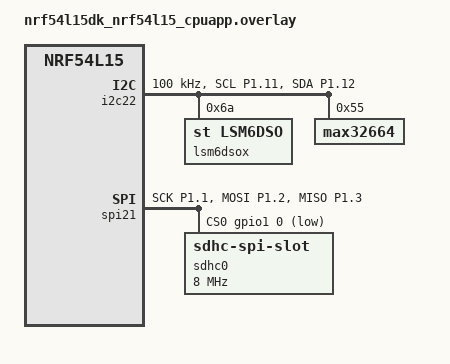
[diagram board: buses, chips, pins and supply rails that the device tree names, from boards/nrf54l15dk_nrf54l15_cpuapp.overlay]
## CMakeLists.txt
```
cmake_minimum_required(VERSION 3.20.0)

# Pick a Python interpreter that can import required Zephyr build modules.
set(_zephyr_python_candidates "")

if(DEFINED WEST_PYTHON)
  list(APPEND _zephyr_python_candidates "${WEST_PYTHON}")
endif()

find_program(WEST_EXECUTABLE west)
if(WEST_EXECUTABLE)
  file(READ "${WEST_EXECUTABLE}" WEST_LAUNCHER_HEAD LIMIT 256)
  string(REGEX MATCH "^#!([^\n\r]+)" WEST_SHEBANG "${WEST_LAUNCHER_HEAD}")
  if(CMAKE_MATCH_1)
    list(APPEND _zephyr_python_candidates "${CMAKE_MATCH_1}")
  endif()
endif()

if(DEFINED ENV{ZEPHYR_PYTHON})
  list(APPEND _zephyr_python_candidates "$ENV{ZEPHYR_PYTHON}")
endif()

file(GLOB _ncs_toolchain_pythons "/opt/nordic/ncs/toolchains/*/bin/python3")
list(APPEND _zephyr_python_candidates ${_ncs_toolchain_pythons})

find_program(SYSTEM_PYTHON3_EXECUTABLE python3)
if(SYSTEM_PYTHON3_EXECUTABLE)
  list(APPEND _zephyr_python_candidates "${SYSTEM_PYTHON3_EXECUTABLE}")
endif()

list(REMOVE_DUPLICATES _zephyr_python_candidates)

unset(_selected_python)
foreach(_py IN LISTS _zephyr_python_candidates)
  if(EXISTS "${_py}")
    execute_process(
      COMMAND "${_py}" -c "import west.version, elftools, intelhex"
      RESULT_VARIABLE _py_ok
      OUTPUT_QUIET
      ERROR_QUIET
    )
    if(_py_ok EQUAL 0)
      set(_selected_python "${_py}")
      break()
    endif()
  endif()
endforeach()

if(DEFINED _selected_python)
  set(WEST_PYTHON "${_selected_python}" CACHE FILEPATH "Python interpreter used by west" FORCE)
  set(Python3_EXECUTABLE "${_selected_python}" CACHE FILEPATH "Python interpreter used by Zephyr" FORCE)
endif()

find_package(Zephyr REQUIRED HINTS $ENV{ZEPHYR_BASE})
project(sens_ia_nordic)

# Add Edge Impulse library
include(sense_ia_datat001-cpp-mcu-v1/edge-impulse-sdk/cmake/utils.cmake)
add_subdirectory(sense_ia_datat001-cpp-mcu-v1/edge-impulse-sdk/cmake/zephyr)

RECURSIVE_FIND_FILE_APPEND(MODEL_SOURCE "sense_ia_datat001-cpp-mcu-v1/tflite-model" "*.cpp")
target_include_directories(app PRIVATE sense_ia_datat001-cpp-mcu-v1)

target_sources(app PRIVATE
  src/main.cpp
  src/ble.c
  src/biohub_max32664.c
  src/imu_lsm6.c
  src/sd.c
  ${MODEL_SOURCE}
)
```

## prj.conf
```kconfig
# Console / printk
CONFIG_SERIAL=y
CONFIG_CONSOLE=y
CONFIG_UART_CONSOLE=y
CONFIG_UART_ASYNC_API=y
CONFIG_USE_SEGGER_RTT=n
CONFIG_RTT_CONSOLE=n
CONFIG_PRINTK=y

# Bluetooth LE
CONFIG_BT=y
CONFIG_BT_PERIPHERAL=y
CONFIG_BT_DEVICE_NAME="SenseAI"
CONFIG_BT_DEVICE_NAME_DYNAMIC=n
CONFIG_BT_MAX_CONN=1

# I2C
CONFIG_I2C=y
CONFIG_GPIO=y

# Sensors
CONFIG_SENSOR=y
CONFIG_LSM6DSO=y

# Pour afficher des float/double avec printk ("%.6f")
CONFIG_CBPRINTF_FP_SUPPORT=y
CONFIG_CBPRINTF_COMPLETE=y
CONFIG_PICOLIBC_IO_FLOAT=y

# SD + filesystem (FAT)
CONFIG_MAIN_STACK_SIZE=4096
CONFIG_SPI=y
CONFIG_CRC=y
CONFIG_DISK_ACCESS=y
CONFIG_DISK_DRIVER_SDMMC=y
CONFIG_SPI_SDHC=y
CONFIG_FILE_SYSTEM=y
CONFIG_FAT_FILESYSTEM_ELM=y

# SD logs
CONFIG_LOG=y
CONFIG_LOG_MODE_IMMEDIATE=y
CONFIG_LOG_BACKEND_RTT=n
CONFIG_LOG_BACKEND_UART=y

CONFIG_SD_LOG_LEVEL_ERR=y
CONFIG_SDHC_LOG_LEVEL_ERR=y

# C++ support
CONFIG_CPP=y
CONFIG_STD_CPP17=y
CONFIG_GLIBCXX_LIBCPP=y
CONFIG_REQUIRES_FULL_LIBCPP=y
```

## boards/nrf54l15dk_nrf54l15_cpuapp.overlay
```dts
/* LSM6DSOX en I2C sur P1.11 (SCL) et P1.12 (SDA) - addr 0x6A */

&i2c22 {
    status = "okay";
    pinctrl-0 = <&i2c22_default>;
    pinctrl-1 = <&i2c22_sleep>;
    pinctrl-names = "default", "sleep";
    clock-frequency = <I2C_BITRATE_STANDARD>; /* 100 kHz */

    lsm6dsox: lsm6dsox@6a {
        compatible = "st,lsm6dso";
        reg = <0x6a>;
        status = "okay";
    };

    max32664: max32664@55 {
        reg = <0x55>;
        label = "MAX32664";
        status = "okay";
    };
};

/* microSD externe en SPI sur P1.0..P1.3 */
&spi21 {
    status = "okay";
    pinctrl-0 = <&spi21_default>;
    pinctrl-1 = <&spi21_sleep>;
    pinctrl-names = "default", "sleep";
    cs-gpios = <&gpio1 0 (GPIO_ACTIVE_LOW | GPIO_PULL_UP)>;

    sdhc0: sdhc@0 {
        compatible = "zephyr,sdhc-spi-slot";
        reg = <0>;
        status = "okay";
        spi-max-frequency = <8000000>;
        power-delay-ms = <20>;

        mmc {
            compatible = "zephyr,sdmmc-disk";
            disk-name = "SD";
            status = "okay";
        };
    };
};

&pinctrl {
    /omit-if-no-ref/ i2c22_default: i2c22_default {
        group1 {
            psels = <NRF_PSEL(TWIM_SCL, 1, 11)>,
                    <NRF_PSEL(TWIM_SDA, 1, 12)>;
            /* Debug: active pull-ups internes si le module n'a pas de pull-ups externes */
            bias-pull-up;
        };
    };

    /omit-if-no-ref/ i2c22_sleep: i2c22_sleep {
        group1 {
            psels = <NRF_PSEL(TWIM_SCL, 1, 11)>,
                    <NRF_PSEL(TWIM_SDA, 1, 12)>;
            low-power-enable;
        };
    };

    /omit-if-no-ref/ spi21_default: spi21_default {
        group1 {
            psels = <NRF_PSEL(SPIM_SCK, 1, 1)>,
                    <NRF_PSEL(SPIM_MOSI, 1, 2)>;
        };

        group2 {
            psels = <NRF_PSEL(SPIM_MISO, 1, 3)>;
            bias-pull-up;
        };
    };

    /omit-if-no-ref/ spi21_sleep: spi21_sleep {
        group1 {
            psels = <NRF_PSEL(SPIM_SCK, 1, 1)>,
                    <NRF_PSEL(SPIM_MOSI, 1, 2)>;
            low-power-enable;
        };

        group2 {
            psels = <NRF_PSEL(SPIM_MISO, 1, 3)>;
            bias-pull-up;
            low-power-enable;
        };
    };
};

/ {
    chosen {
        ncs,ei-uart = &uart20;
    };

    aliases {
        imu = &lsm6dsox;
        biohub = &max32664;
    };
};
```

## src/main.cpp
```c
#include <zephyr/kernel.h>
#include <zephyr/device.h>
#include <zephyr/devicetree.h>
#include <zephyr/drivers/gpio.h>
#include <zephyr/drivers/i2c.h>
#include <zephyr/drivers/uart.h>
#include <zephyr/sys/printk.h>
#include <zephyr/sys/atomic.h>
#include <zephyr/drivers/sensor.h>

#include <errno.h>
#include <stdbool.h>
#include <limits.h>
#include <math.h>
#include <stdint.h>
#include <stdio.h>

#include "biohub_max32664.h"
#include "ble.h"
#include "imu_lsm6.h"

// Edge Impulse includes
#include "edge-impulse-sdk/classifier/ei_run_classifier.h"
#include "model-parameters/model_variables.h"

#define PI_D 3.14159265358979323846
#define SAMPLE_PERIOD_MS 200
#define UART_BUF_SIZE 160
#define MAX32664_NODE DT_NODELABEL(max32664)
#define MAX32664_GPIO_NODE DT_NODELABEL(gpio0)
#define MAX32664_RST_PIN 0
#define MAX32664_MFIO_PIN 1

#if !DT_HAS_CHOSEN(ncs_ei_uart)
#error "Devicetree chosen 'ncs,ei-uart' missing. Set it in your board overlay."
#endif

static const struct device *const uart_dev = DEVICE_DT_GET(DT_CHOSEN(ncs_ei_uart));
static atomic_t uart_busy;

#if DT_NODE_HAS_STATUS(MAX32664_NODE, okay)
#define MAX32664_ADDR_7B DT_REG_ADDR(MAX32664_NODE)
static const struct device *const max32664_i2c_dev = DEVICE_DT_GET(DT_BUS(MAX32664_NODE));
#else
#define MAX32664_ADDR_7B BIOHUB_I2C_ADDR_7B
static const struct device *const max32664_i2c_dev = NULL;
#endif

#if DT_NODE_HAS_STATUS(MAX32664_GPIO_NODE, okay)
static const struct device *const max32664_gpio_dev = DEVICE_DT_GET(MAX32664_GPIO_NODE);
#else
static const struct device *const max32664_gpio_dev = NULL;
#endif

static biohub_t max32664 = {0};
static bioData cardio = {0};
static bool max32664_ready;
static uint16_t bio_hr_bpm;
static uint16_t bio_spo2_percent;

// Edge Impulse variables
#define EI_CLASSIFIER_SLICES_PER_MODEL_WINDOW 8
#define EI_CLASSIFIER_RAW_SAMPLE_COUNT 208
static float features[EI_CLASSIFIER_DSP_INPUT_FRAME_SIZE] = {0};
static int feature_index = 0;
static bool inference_ready = false;

static double sensor_to_double(const struct sensor_value *v)
{
    return (double)v->val1 + (double)v->val2 / 1000000.0;
}

static int16_t to_i16_scaled_100(double value)
{
    double scaled = round(value * 100.0);

    if (scaled > (double)INT16_MAX) {
        return INT16_MAX;
    }
    if (scaled < (double)INT16_MIN) {
        return INT16_MIN;
    }

    return (int16_t)scaled;
}

static uint16_t angle_to_u16_scaled_100(double angle_deg)
{
    while (angle_deg < 0.0) {
        angle_deg += 360.0;
    }
    while (angle_deg >= 360.0) {
        angle_deg -= 360.0;
    }

    double scaled = round(angle_deg * 100.0);
    if (scaled < 0.0) {
        scaled = 0.0;
    }
    if (scaled > 36000.0) {
        scaled = 36000.0;
    }

    return (uint16_t)scaled;
}

static void uart_cb(const struct device *dev, struct uart_event *evt, void *user_data)
{
    ARG_UNUSED(dev);
    ARG_UNUSED(user_data);

    if (evt->type == UART_TX_DONE || evt->type == UART_TX_ABORTED) {
        (void)atomic_set(&uart_busy, false);
    }
}

static int init_uart_stream(void)
{
    if (!device_is_ready(uart_dev)) {
        printk("UART device not ready\n");
        return -ENODEV;
    }

    int ret = uart_callback_set(uart_dev, uart_cb, NULL);
    if (ret != 0) {
        printk("Cannot set UART callback (err %d)\n", ret);
        return ret;
    }

    (void)atomic_set(&uart_busy, false);
    return 0;
}

static int uart_send_sensor_csv(double ax, double ay, double az,
                                double gx_dps, double gy_dps, double gz_dps,
                                uint16_t hr_bpm, uint16_t spo2_percent)
{
    static uint8_t buf[UART_BUF_SIZE];

    if (!atomic_cas(&uart_busy, false, true)) {
        return -EBUSY;
    }

    int res = snprintf((char *)buf, sizeof(buf),
                       "%.6f,%.6f,%.6f,%.6f,%.6f,%.6f,%u,%u\r\n",
                       ax, ay, az, gx_dps, gy_dps, gz_dps, hr_bpm, spo2_percent);
    if (res < 0) {
        (void)atomic_set(&uart_busy, false);
        return res;
    }
    if (res >= (int)sizeof(buf)) {
        (void)atomic_set(&uart_busy, false);
        return -ENOMEM;
    }

    int ret = uart_tx(uart_dev, buf, (size_t)res, SYS_FOREVER_MS);
    if (ret != 0) {
        (void)atomic_set(&uart_busy, false);
        return ret;
    }

    return 0;
}

static int uart_send_csv_header(void)
{
    static const uint8_t header[] = "acc_x,acc_y,acc_z,gyr_x,gyr_y,gyr_z,htr,o2\r\n";

    if (!atomic_cas(&uart_busy, false, true)) {
        return -EBUSY;
    }

    int ret = uart_tx(uart_dev, header, sizeof(header) - 1U, SYS_FOREVER_MS);
    if (ret != 0) {
        (void)atomic_set(&uart_busy, false);
        return ret;
    }

    return 0;
}

static int init_max32664(void)
{
    if (max32664_i2c_dev == NULL || !device_is_ready(max32664_i2c_dev)) {
        return -ENODEV;
    }

    if (max32664_gpio_dev == NULL || !device_is_ready(max32664_gpio_dev)) {
        return -ENODEV;
    }

    int rc = gpio_pin_configure(max32664_gpio_dev, MAX32664_RST_PIN, GPIO_OUTPUT_HIGH);
    if (rc != 0) {
        return rc;
    }

    rc = gpio_pin_configure(max32664_gpio_dev, MAX32664_MFIO_PIN, GPIO_OUTPUT_HIGH);
    if (rc != 0) {
        return rc;
    }

    uint8_t mode = biohub_begin(&max32664,
                                max32664_i2c_dev,
                                max32664_gpio_dev,
                                MAX32664_RST_PIN,
                                MAX32664_MFIO_PIN);

    if (mode == BOOTLOADER_MODE) {
        return -EIO;
    }

    if (mode != APP_MODE) {
        return -EIO;
    }

    version fw = {0};
    (void)biohub_readSensorHubVersion(&max32664, &fw);

    uint8_t cfg = biohub_configBpm(&max32664, MODE_TWO);
    if (cfg != SFE_BIO_SUCCESS) {
        return -EIO;
    }

    max32664_ready = true;
    return 0;
}

static void poll_max32664(void)
{
    if (!max32664_ready) {
        return;
    }

    uint8_t status = biohub_readBpm(&max32664, &cardio);
    if (status == ERR_TRY_AGAIN) {
        return;
    }

    if (status != SFE_BIO_SUCCESS) {
        return;
    }

    bio_hr_bpm = (cardio.heartRate <= 250U) ? cardio.heartRate : 0U;
    bio_spo2_percent = (cardio.oxygen <= 100U) ? cardio.oxygen : 0U;
}

static void run_inference(void)
{
    ei_impulse_result_t result = {0};

    // Prepare signal for inference
    signal_t signal;
    numpy::signal_from_buffer(features, EI_CLASSIFIER_DSP_INPUT_FRAME_SIZE, &signal);

    // Run classifier
    EI_IMPULSE_ERROR res = run_classifier(&signal, &result, false);

    if (res != EI_IMPULSE_OK) {
        printk("Edge Impulse classifier failed (%d)\n", res);
        return;
    }

    // Print predictions
    printk("Predictions:\n");
    for (size_t i = 0; i < EI_CLASSIFIER_LABEL_COUNT; i++) {
        printk("  %s: %.5f\n", result.classification[i].label, result.classification[i].value);
    }

    // Send results via BLE if connected
    if (ble_is_connected()) {
        // Find the class with highest probability
        size_t best_index = 0;
        float best_value = 0.0f;
        for (size_t i = 0; i < EI_CLASSIFIER_LABEL_COUNT; i++) {
            if (result.classification[i].value > best_value) {
                best_value = result.classification[i].value;
                best_index = i;
            }
        }

        // Send activity classification via BLE
        (void)ble_notify_activity((uint8_t)best_index, best_value);

        // Print the result
        printk("Detected activity: %s (confidence: %.2f)\n",
               result.classification[best_index].label,
               result.classification[best_index].value);
    }
}

int main(void)
{
    imu_lsm6_t imu = {0};
    int ret = 0;

    ret = init_uart_stream();
    if (ret != 0) {
        return 0;
    }

    ret = ble_init();
    if (ret != 0) {
        return 0;
    }

    ret = ble_start_advertising();
    if (ret != 0) {
        return 0;
    }

    ret = imu_lsm6_init(&imu);
    if (ret != 0) {
        return 0;
    }

    (void)imu_lsm6_set_odr_hz(&imu, 104);

    ret = init_max32664();
    (void)ret;

    (void)uart_send_csv_header();

    while (1) {
        struct sensor_value accel[3];
        struct sensor_value gyro[3];
        double ax;
        double ay;
        double az;
        double gx_rad;
        double gy_rad;
        double gz_rad;
        double gx_dps;
        double gy_dps;
        double gz_dps;
        double pitch_deg;
        double roll_deg;
        int16_t temp_centi = 0;
        int temp_read_ret;

        ret = imu_lsm6_read(&imu, accel, gyro);
        if (ret != 0) {
            k_sleep(K_MSEC(500));
            continue;
        }

        ax = sensor_to_double(&accel[0]);
        ay = sensor_to_double(&accel[1]);
        az = sensor_to_double(&accel[2]);
        gx_rad = sensor_to_double(&gyro[0]);
        gy_rad = sensor_to_double(&gyro[1]);
        gz_rad = sensor_to_double(&gyro[2]);
        gx_dps = gx_rad * (180.0 / PI_D);
        gy_dps = gy_rad * (180.0 / PI_D);
        gz_dps = gz_rad * (180.0 / PI_D);

        pitch_deg = atan2(ay, sqrt((ax * ax) + (az * az))) * (180.0 / PI_D);
        roll_deg = atan2(-ax, az) * (180.0 / PI_D);

        temp_read_ret = imu_lsm6_read_die_temp_centi(&imu, &temp_centi);

        poll_max32664();
        (void)uart_send_sensor_csv(ax, ay, az,
                                   gx_dps, gy_dps, gz_dps,
                                   bio_hr_bpm, bio_spo2_percent);

        // Add sensor data to features buffer for Edge Impulse
        features[feature_index++] = (float)ax;
        features[feature_index++] = (float)ay;
        features[feature_index++] = (float)az;
        features[feature_index++] = (float)gx_dps;
        features[feature_index++] = (float)gy_dps;
        features[feature_index++] = (float)gz_dps;
        features[feature_index++] = (float)bio_hr_bpm;
        features[feature_index++] = (float)bio_spo2_percent;

        // Check if we have enough data for inference
        if (feature_index >= EI_CLASSIFIER_DSP_INPUT_FRAME_SIZE) {
            run_inference();
            feature_index = 0; // Reset buffer for next inference window
        }

        if (ble_is_connected()) {
            if (temp_read_ret == 0) {
                (void)ble_notify_temperature_centi(temp_centi);
            }

            (void)ble_notify_motion(to_i16_scaled_100(gx_dps),
                                    to_i16_scaled_100(gy_dps),
                                    to_i16_scaled_100(gz_dps),
                                    angle_to_u16_scaled_100(pitch_deg),
                                    angle_to_u16_scaled_100(roll_deg));
            (void)ble_notify_biometrics(bio_hr_bpm, bio_spo2_percent);
        }

        k_sleep(K_MSEC(SAMPLE_PERIOD_MS));
    }

    return 0;
}
```

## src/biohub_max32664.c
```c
#include "biohub_max32664.h"

#include <stdbool.h>
#include <string.h>

#include <zephyr/drivers/gpio.h>
#include <zephyr/drivers/i2c.h>
#include <zephyr/kernel.h>
#include <zephyr/sys/printk.h>

#define BIOHUB_LOG(...) printk(__VA_ARGS__)
#define ALGO_CMD_DELAY_LONG 45

static uint8_t bpmArr[MAXFAST_ARRAY_SIZE];
static uint8_t bpmArrTwo[MAXFAST_ARRAY_SIZE + MAXFAST_EXTENDED_DATA];
static uint8_t rxBuf[MAXFAST_ARRAY_SIZE + MAXFAST_EXTENDED_DATA + 1];

static bool i2c_tx(biohub_t *dev, const uint8_t *buf, uint16_t len)
{
    if (dev == NULL || dev->i2c_dev == NULL || buf == NULL) {
        return false;
    }

    return i2c_write(dev->i2c_dev, buf, len, BIOHUB_I2C_ADDR_7B) == 0;
}

static bool i2c_rx(biohub_t *dev, uint8_t *buf, uint16_t len)
{
    if (dev == NULL || dev->i2c_dev == NULL || buf == NULL) {
        return false;
    }

    return i2c_read(dev->i2c_dev, buf, len, BIOHUB_I2C_ADDR_7B) == 0;
}

static uint8_t writeByte(biohub_t *dev, uint8_t familyByte, uint8_t indexByte, uint8_t writeByteValue)
{
    uint8_t cmd[3] = {familyByte, indexByte, writeByteValue};
    uint8_t statusByte = ERR_UNKNOWN;

    if (!i2c_tx(dev, cmd, sizeof(cmd))) {
        return ERR_UNKNOWN;
    }

    k_msleep(CMD_DELAY);

    if (!i2c_rx(dev, &statusByte, 1)) {
        return ERR_UNKNOWN;
    }

    return statusByte;
}

static uint8_t enableWrite(biohub_t *dev, uint8_t familyByte, uint8_t indexByte, uint8_t enableByte)
{
    uint8_t cmd[3] = {familyByte, indexByte, enableByte};
    uint8_t statusByte = ERR_UNKNOWN;

    if (!i2c_tx(dev, cmd, sizeof(cmd))) {
        return ERR_UNKNOWN;
    }

    if (familyByte == ENABLE_SENSOR && indexByte == ENABLE_MAX30101) {
        k_msleep(100);
    } else if (familyByte == ENABLE_ALGORITHM && indexByte == ENABLE_AGC_ALGO) {
        k_msleep(ENABLE_CMD_DELAY);
    } else if (familyByte == ENABLE_ALGORITHM && indexByte == ENABLE_WHRM_ALGO) {
        k_msleep(ALGO_CMD_DELAY_LONG);
    } else {
        k_msleep(CMD_DELAY);
    }

    if (!i2c_rx(dev, &statusByte, 1)) {
        return ERR_UNKNOWN;
    }

    return statusByte;
}

static uint8_t readByte(biohub_t *dev, uint8_t familyByte, uint8_t indexByte)
{
    uint8_t cmd[2] = {familyByte, indexByte};
    uint8_t rx[2] = {0};

    if (!i2c_tx(dev, cmd, sizeof(cmd))) {
        return ERR_UNKNOWN;
    }

    k_msleep(CMD_DELAY);

    if (!i2c_rx(dev, rx, sizeof(rx))) {
        return ERR_UNKNOWN;
    }

    return rx[1];
}

static uint8_t readFillArray(biohub_t *dev, uint8_t familyByte, uint8_t indexByte,
                             uint8_t numOfReads, uint8_t array[])
{
    uint8_t cmd[2] = {familyByte, indexByte};
    uint8_t statusByte;

    if (dev == NULL || array == NULL) {
        return ERR_UNKNOWN;
    }

    if ((uint16_t)numOfReads + 1U > sizeof(rxBuf)) {
        return ERR_UNKNOWN;
    }

    if (!i2c_tx(dev, cmd, sizeof(cmd))) {
        return ERR_UNKNOWN;
    }

    k_msleep(CMD_DELAY);

    if (!i2c_rx(dev, rxBuf, (uint16_t)numOfReads + 1U)) {
        return ERR_UNKNOWN;
    }

    statusByte = rxBuf[0];
    if (statusByte != SFE_BIO_SUCCESS) {
        memset(array, 0, numOfReads);
        return statusByte;
    }

    memcpy(array, &rxBuf[1], numOfReads);
    return statusByte;
}

uint8_t biohub_begin(biohub_t *dev,
                     const struct device *i2c_dev,
                     const struct device *gpio_dev,
                     uint16_t rst_pin,
                     uint16_t mfio_pin)
{
    if (dev == NULL || i2c_dev == NULL || gpio_dev == NULL) {
        return ERR_UNKNOWN;
    }

    dev->i2c_dev = i2c_dev;
    dev->gpio_dev = gpio_dev;
    dev->rst_pin = rst_pin;
    dev->mfio_pin = mfio_pin;
    dev->userSelectedMode = MODE_TWO;
    dev->sampleRate = 100;

    gpio_pin_set(dev->gpio_dev, dev->mfio_pin, 1);
    gpio_pin_set(dev->gpio_dev, dev->rst_pin, 0);
    k_msleep(10);
    gpio_pin_set(dev->gpio_dev, dev->rst_pin, 1);

    uint8_t responseByte = ERR_UNKNOWN;
    for (uint8_t i = 0; i < 20U; i++) {
        k_msleep(50);
        responseByte = readByte(dev, READ_DEVICE_MODE, 0x00);
        if (responseByte == APP_MODE || responseByte == BOOTLOADER_MODE) {
            return responseByte;
        }
    }

    return responseByte;
}

uint8_t biohub_configBpm(biohub_t *dev, uint8_t mode)
{
    uint8_t statusChauf;

    if (dev == NULL) {
        return ERR_UNKNOWN;
    }

    if (mode != MODE_ONE && mode != MODE_TWO) {
        BIOHUB_LOG("[MAX32664] ERROR: invalid mode\n");
        return ERR_INPUT_VALUE;
    }

    BIOHUB_LOG("[MAX32664] Configuring BPM mode %u...\n", mode);

    statusChauf = writeByte(dev, OUTPUT_MODE, SET_FORMAT, ALGO_DATA);
    if (statusChauf != SFE_BIO_SUCCESS) {
        BIOHUB_LOG("[MAX32664] setOutputMode failed (0x%02X)\n", statusChauf);
        return statusChauf;
    }

    statusChauf = writeByte(dev, OUTPUT_MODE, WRITE_SET_THRESHOLD, 0x01);
    if (statusChauf != SFE_BIO_SUCCESS) {
        BIOHUB_LOG("[MAX32664] setFifoThreshold failed (0x%02X)\n", statusChauf);
        return statusChauf;
    }

    statusChauf = enableWrite(dev, ENABLE_ALGORITHM, ENABLE_AGC_ALGO, BIOHUB_ENABLE);
    if (statusChauf != SFE_BIO_SUCCESS) {
        BIOHUB_LOG("[MAX32664] agcAlgoControl failed (0x%02X)\n", statusChauf);
        return statusChauf;
    }

    for (uint8_t retry = 0; retry < 5U; retry++) {
        statusChauf = enableWrite(dev, ENABLE_SENSOR, ENABLE_MAX30101, BIOHUB_ENABLE);
        if (statusChauf == SFE_BIO_SUCCESS) {
            break;
        }
        if (retry == 4U) {
            BIOHUB_LOG("[MAX32664] max30101Control failed (0x%02X)\n", statusChauf);
            return statusChauf;
        }
        BIOHUB_LOG("[MAX32664] max30101 retry %u/5\n", retry + 1U);
        k_msleep(100);
    }

    statusChauf = enableWrite(dev, ENABLE_ALGORITHM, ENABLE_WHRM_ALGO, mode);
    if (statusChauf != SFE_BIO_SUCCESS) {
        BIOHUB_LOG("[MAX32664] maximFastAlgoControl failed (0x%02X)\n", statusChauf);
        return statusChauf;
    }

    dev->userSelectedMode = mode;
    BIOHUB_LOG("[MAX32664] configured successfully\n");
    return SFE_BIO_SUCCESS;
}

uint8_t biohub_readBpm(biohub_t *dev, bioData *body)
{
    uint8_t statusChauf;
    uint8_t fifoSamples;

    if (dev == NULL || body == NULL) {
        return ERR_UNKNOWN;
    }

    memset(body, 0, sizeof(*body));
    statusChauf = biohub_readSensorHubStatus(dev);

    if (statusChauf != SFE_BIO_SUCCESS) {
        return statusChauf;
    }

    fifoSamples = biohub_numSamplesOutFifo(dev);
    if (fifoSamples == 0U) {
        return ERR_TRY_AGAIN;
    }

    if (dev->userSelectedMode == MODE_ONE) {
        statusChauf = readFillArray(dev, READ_DATA_OUTPUT, READ_DATA, MAXFAST_ARRAY_SIZE, bpmArr);
        if (statusChauf != SFE_BIO_SUCCESS) {
            return statusChauf;
        }

        body->heartRate = ((uint16_t)bpmArr[0] << 8) | bpmArr[1];
        body->heartRate /= 10U;
        body->confidence = bpmArr[2];
        body->oxygen = ((uint16_t)bpmArr[3] << 8) | bpmArr[4];
        body->oxygen /= 10U;
        body->status = bpmArr[5];
        return SFE_BIO_SUCCESS;
    }

    if (dev->userSelectedMode == MODE_TWO) {
        statusChauf = readFillArray(dev, READ_DATA_OUTPUT, READ_DATA,
                                    MAXFAST_ARRAY_SIZE + MAXFAST_EXTENDED_DATA,
                                    bpmArrTwo);
        if (statusChauf != SFE_BIO_SUCCESS) {
            return statusChauf;
        }

        body->heartRate = ((uint16_t)bpmArrTwo[0] << 8) | bpmArrTwo[1];
        body->heartRate /= 10U;
        body->confidence = bpmArrTwo[2];
        body->oxygen = ((uint16_t)bpmArrTwo[3] << 8) | bpmArrTwo[4];
        body->oxygen /= 10U;
        body->status = bpmArrTwo[5];
        body->rValue = ((uint16_t)bpmArrTwo[6] << 8) | bpmArrTwo[7];
        body->extStatus = (int8_t)bpmArrTwo[8];
        return SFE_BIO_SUCCESS;
    }

    return ERR_UNKNOWN;
}

uint8_t biohub_readSensorHubStatus(biohub_t *dev)
{
    uint8_t cmd[2] = {HUB_STATUS, 0x00};
    uint8_t statusByte = ERR_UNKNOWN;

    if (dev == NULL) {
        return ERR_UNKNOWN;
    }

    if (!i2c_tx(dev, cmd, sizeof(cmd))) {
        return ERR_UNKNOWN;
    }

    k_msleep(CMD_DELAY);

    if (!i2c_rx(dev, &statusByte, 1)) {
        return ERR_UNKNOWN;
    }

    return statusByte;
}

uint8_t biohub_numSamplesOutFifo(biohub_t *dev)
{
    if (dev == NULL) {
        return 0;
    }

    return readByte(dev, READ_DATA_OUTPUT, NUM_SAMPLES);
}

uint8_t biohub_readDeviceMode(biohub_t *dev, uint8_t *mode)
{
    if (dev == NULL || mode == NULL) {
        return ERR_UNKNOWN;
    }

    *mode = readByte(dev, READ_DEVICE_MODE, 0x00);
    return SFE_BIO_SUCCESS;
}

uint8_t biohub_readSensorHubVersion(biohub_t *dev, version *vers)
{
    uint8_t cmd[2] = {IDENTITY, READ_SENSOR_HUB_VERS};
    uint8_t rx[4] = {0};

    if (dev == NULL || vers == NULL) {
        return ERR_UNKNOWN;
    }

    if (!i2c_tx(dev, cmd, sizeof(cmd))) {
        return ERR_UNKNOWN;
    }

    k_msleep(CMD_DELAY);

    if (!i2c_rx(dev, rx, sizeof(rx))) {
        return ERR_UNKNOWN;
    }

    vers->major = rx[1];
    vers->minor = rx[2];
    vers->revision = rx[3];

    return rx[0];
}
```

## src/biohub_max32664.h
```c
#ifndef BIOHUB_MAX32664_H
#define BIOHUB_MAX32664_H

#ifdef __cplusplus
extern "C" {
#endif

#include <stdint.h>
#include <zephyr/device.h>

#define BIOHUB_I2C_ADDR_7B    0x55
#define BIOHUB_I2C_ADDR_8B    (BIOHUB_I2C_ADDR_7B << 1)

#define BIOHUB_DISABLE        0x00
#define BIOHUB_ENABLE         0x01
#define MODE_ONE              0x01
#define MODE_TWO              0x02
#define APP_MODE              0x00
#define BOOTLOADER_MODE       0x08

#define ENABLE_CMD_DELAY      45
#define CMD_DELAY             2
#define MAXFAST_ARRAY_SIZE    6
#define MAXFAST_EXTENDED_DATA 5

typedef enum {
    SFE_BIO_SUCCESS       = 0x00,
    ERR_UNAVAIL_CMD       = 0x01,
    ERR_UNAVAIL_FUNC      = 0x02,
    ERR_DATA_FORMAT       = 0x03,
    ERR_INPUT_VALUE       = 0x04,
    ERR_TRY_AGAIN         = 0x05,
    ERR_BTLDR_GENERAL     = 0x80,
    ERR_BTLDR_CHECKSUM    = 0x81,
    ERR_BTLDR_AUTH        = 0x82,
    ERR_BTLDR_INVALID_APP = 0x83,
    ERR_UNKNOWN           = 0xFF
} hub_status_t;

typedef enum {
    HUB_STATUS              = 0x00,
    SET_DEVICE_MODE         = 0x01,
    READ_DEVICE_MODE        = 0x02,
    OUTPUT_MODE             = 0x10,
    READ_OUTPUT_MODE        = 0x11,
    READ_DATA_OUTPUT        = 0x12,
    READ_DATA_INPUT         = 0x13,
    WRITE_INPUT             = 0x14,
    WRITE_REGISTER          = 0x40,
    READ_REGISTER           = 0x41,
    READ_ATTRIBUTES_AFE     = 0x42,
    DUMP_REGISTERS          = 0x43,
    ENABLE_SENSOR           = 0x44,
    READ_SENSOR_MODE        = 0x45,
    CHANGE_ALGORITHM_CONFIG = 0x50,
    READ_ALGORITHM_CONFIG   = 0x51,
    ENABLE_ALGORITHM        = 0x52,
    BOOTLOADER_FLASH        = 0x80,
    BOOTLOADER_INFO         = 0x81,
    IDENTITY                = 0xFF
} family_byte_t;

typedef enum {
    SET_FORMAT = 0x00,
    READ_FORMAT = 0x01
} output_mode_index_t;

typedef enum {
    NUM_SAMPLES = 0x00,
    READ_DATA = 0x01
} fifo_output_index_t;

typedef enum {
    WRITE_SET_THRESHOLD = 0x01
} write_input_index_t;

typedef enum {
    PAUSE = 0x00,
    SENSOR_DATA = 0x01,
    ALGO_DATA = 0x02,
    SENSOR_AND_ALGORITHM = 0x03,
    PAUSE_TWO = 0x04,
    SENSOR_COUNTER_BYTE = 0x05,
    ALGO_COUNTER_BYTE = 0x06,
    SENSOR_ALGO_COUNTER = 0x07
} output_mode_write_t;

typedef enum {
    ENABLE_MAX30101 = 0x03,
    ENABLE_ACCELEROMETER = 0x04
} sensor_enable_index_t;

typedef enum {
    ENABLE_AGC_ALGO = 0x00,
    ENABLE_WHRM_ALGO = 0x02
} algo_enable_index_t;

typedef enum {
    READ_MCU_TYPE = 0x00,
    READ_SENSOR_HUB_VERS = 0x03,
    READ_ALGO_VERS = 0x07
} identity_index_t;

typedef struct {
    uint16_t heartRate;
    uint8_t confidence;
    uint16_t oxygen;
    uint8_t status;
    int8_t extStatus;
    uint16_t rValue;
    uint8_t reserveOne;
    uint8_t reserveTwo;
} bioData;

typedef struct {
    uint8_t major;
    uint8_t minor;
    uint8_t revision;
} version;

typedef struct {
    const struct device *i2c_dev;
    const struct device *gpio_dev;
    uint16_t rst_pin;
    uint16_t mfio_pin;
    uint8_t userSelectedMode;
    uint8_t sampleRate;
} biohub_t;

uint8_t biohub_begin(biohub_t *dev,
                     const struct device *i2c_dev,
                     const struct device *gpio_dev,
                     uint16_t rst_pin,
                     uint16_t mfio_pin);
uint8_t biohub_configBpm(biohub_t *dev, uint8_t mode);
uint8_t biohub_readBpm(biohub_t *dev, bioData *body);
uint8_t biohub_readSensorHubStatus(biohub_t *dev);
uint8_t biohub_numSamplesOutFifo(biohub_t *dev);
uint8_t biohub_readDeviceMode(biohub_t *dev, uint8_t *mode);
uint8_t biohub_readSensorHubVersion(biohub_t *dev, version *vers);

#ifdef __cplusplus
}
#endif

#endif /* BIOHUB_MAX32664_H */
```

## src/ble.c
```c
#include "ble.h"

#include <zephyr/bluetooth/bluetooth.h>
#include <zephyr/bluetooth/conn.h>
#include <zephyr/bluetooth/gatt.h>
#include <zephyr/bluetooth/uuid.h>
#include <zephyr/devicetree.h>
#include <zephyr/drivers/gpio.h>
#include <zephyr/sys/printk.h>
#include <zephyr/sys/util.h>

#include <errno.h>
#include <string.h>

/* UUIDs attendus par l'application Sens IA (service P2P STM32 + Heart Rate). */
#define BT_UUID_P2P_SERVICE_VAL BT_UUID_128_ENCODE(0x0000fe40, 0xcc7a, 0x482a, 0x984a, 0x7f2ed5b3e58f)
#define BT_UUID_LED_CHAR_VAL    BT_UUID_128_ENCODE(0x0000fe41, 0x8e22, 0x4541, 0x9d4c, 0x21edae82ed19)
#define BT_UUID_SWITCH_CHAR_VAL BT_UUID_128_ENCODE(0x0000fe42, 0x8e22, 0x4541, 0x9d4c, 0x21edae82ed19)
#define BT_UUID_LONG_CHAR_VAL   BT_UUID_128_ENCODE(0x0000fe43, 0x8e22, 0x4541, 0x9d4c, 0x21edae82ed19)
#define BT_UUID_FILE_CTRL_VAL   BT_UUID_128_ENCODE(0x0000fe44, 0x8e22, 0x4541, 0x9d4c, 0x21edae82ed19)
#define BT_UUID_FILE_DATA_VAL   BT_UUID_128_ENCODE(0x0000fe45, 0x8e22, 0x4541, 0x9d4c, 0x21edae82ed19)

static struct bt_uuid_128 uuid_p2p_service = BT_UUID_INIT_128(BT_UUID_P2P_SERVICE_VAL);
static struct bt_uuid_128 uuid_led_char = BT_UUID_INIT_128(BT_UUID_LED_CHAR_VAL);
static struct bt_uuid_128 uuid_switch_char = BT_UUID_INIT_128(BT_UUID_SWITCH_CHAR_VAL);
static struct bt_uuid_128 uuid_long_char = BT_UUID_INIT_128(BT_UUID_LONG_CHAR_VAL);
static struct bt_uuid_128 uuid_file_ctrl_char = BT_UUID_INIT_128(BT_UUID_FILE_CTRL_VAL);
static struct bt_uuid_128 uuid_file_data_char = BT_UUID_INIT_128(BT_UUID_FILE_DATA_VAL);

static struct bt_conn *active_conn;
static bool switch_notify_enabled;
static bool long_notify_enabled;
static bool file_data_notify_enabled;
static bool hrm_notify_enabled;

static bool stream_enabled = false;
static uint8_t selected_activity_index;

static uint8_t led_ctrl_value[2] = {0x00, 0x00};
static uint8_t body_sensor_location = 0x01; /* chest */

#if DT_NODE_HAS_STATUS(DT_ALIAS(led0), okay)
static const struct gpio_dt_spec status_led = GPIO_DT_SPEC_GET(DT_ALIAS(led0), gpios);
#define HAS_STATUS_LED 1
#else
#define HAS_STATUS_LED 0
#endif
static bool status_led_ready;

static int notify_file_data(const uint8_t *data, uint16_t len);

enum p2p_attr_index {
    P2P_ATTR_PRIMARY = 0,
    P2P_ATTR_LED_DECL,
    P2P_ATTR_LED_VALUE,
    P2P_ATTR_SWITCH_DECL,
    P2P_ATTR_SWITCH_VALUE,
    P2P_ATTR_SWITCH_CCC,
    P2P_ATTR_LONG_DECL,
    P2P_ATTR_LONG_VALUE,
    P2P_ATTR_LONG_CCC,
    P2P_ATTR_FILE_CTRL_DECL,
    P2P_ATTR_FILE_CTRL_VALUE,
    P2P_ATTR_FILE_DATA_DECL,
    P2P_ATTR_FILE_DATA_VALUE,
    P2P_ATTR_FILE_DATA_CCC,
};

enum hrs_attr_index {
    HRS_ATTR_PRIMARY = 0,
    HRS_ATTR_MEAS_DECL,
    HRS_ATTR_MEAS_VALUE,
    HRS_ATTR_MEAS_CCC,
    HRS_ATTR_LOC_DECL,
    HRS_ATTR_LOC_VALUE,
    HRS_ATTR_CTRL_DECL,
    HRS_ATTR_CTRL_VALUE,
};

static void switch_ccc_cfg_changed(const struct bt_gatt_attr *attr, uint16_t value)
{
    ARG_UNUSED(attr);
    switch_notify_enabled = (value == BT_GATT_CCC_NOTIFY);
    printk("BLE CCC FE42 notify=%d\n", switch_notify_enabled ? 1 : 0);
}

static void long_ccc_cfg_changed(const struct bt_gatt_attr *attr, uint16_t value)
{
    ARG_UNUSED(attr);
    long_notify_enabled = (value == BT_GATT_CCC_NOTIFY);
    printk("BLE CCC FE43 notify=%d\n", long_notify_enabled ? 1 : 0);
}

static void file_data_ccc_cfg_changed(const struct bt_gatt_attr *attr, uint16_t value)
{
    ARG_UNUSED(attr);
    file_data_notify_enabled = (value == BT_GATT_CCC_NOTIFY);
}

static void hrm_ccc_cfg_changed(const struct bt_gatt_attr *attr, uint16_t value)
{
    ARG_UNUSED(attr);
    hrm_notify_enabled = (value == BT_GATT_CCC_NOTIFY);
}

static ssize_t led_ctrl_read(struct bt_conn *conn, const struct bt_gatt_attr *attr,
                             void *buf, uint16_t len, uint16_t offset)
{
    ARG_UNUSED(attr);
    return bt_gatt_attr_read(conn, attr, buf, len, offset, led_ctrl_value, sizeof(led_ctrl_value));
}

static ssize_t led_ctrl_write(struct bt_conn *conn, const struct bt_gatt_attr *attr,
                              const void *buf, uint16_t len, uint16_t offset, uint8_t flags)
{
    ARG_UNUSED(conn);
    ARG_UNUSED(attr);
    ARG_UNUSED(flags);

    if (offset != 0U) {
        return BT_GATT_ERR(BT_ATT_ERR_INVALID_OFFSET);
    }

    if (len == 0U || len > sizeof(led_ctrl_value)) {
        return BT_GATT_ERR(BT_ATT_ERR_INVALID_ATTRIBUTE_LEN);
    }

    memset(led_ctrl_value, 0, sizeof(led_ctrl_value));
    memcpy(led_ctrl_value, buf, len);

    if (len >= 2U) {
        uint8_t cmd = led_ctrl_value[0];
        uint8_t arg = led_ctrl_value[1];

        if (cmd == 0x02U) {
            if (arg == 0U) {
                stream_enabled = false;
                printk("BLE CMD: STOP recording\n");
            } else {
                uint8_t activity = (uint8_t)(arg - 1U);
                if (activity > 5U) {
                    activity = 5U;
                }
                stream_enabled = true;
                selected_activity_index = activity;
                printk("BLE CMD: START recording activity=%u\n", selected_activity_index);
            }
        } else if (cmd == 0x00U) {
            if (status_led_ready) {
                (void)gpio_pin_set_dt(&status_led, (arg != 0U) ? 1 : 0);
            }
            printk("BLE CMD: LED state=%u\n", arg);
        } else {
            printk("BLE CMD: FE41 unknown cmd=0x%02x arg=0x%02x\n", cmd, arg);
        }
    }

    return (ssize_t)len;
}

static ssize_t file_ctrl_write(struct bt_conn *conn, const struct bt_gatt_attr *attr,
                               const void *buf, uint16_t len, uint16_t offset, uint8_t flags)
{
    ARG_UNUSED(conn);
    ARG_UNUSED(attr);
    ARG_UNUSED(flags);

    const uint8_t *rx = buf;

    if (offset != 0U) {
        return BT_GATT_ERR(BT_ATT_ERR_INVALID_OFFSET);
    }

    if (len == 0U) {
        return BT_GATT_ERR(BT_ATT_ERR_INVALID_ATTRIBUTE_LEN);
    }

    switch (rx[0]) {
    case 0x01: {
        /* LIST: renvoie "fin de liste" immédiate (aucun fichier exposé côté Nordic). */
        uint8_t end_list[] = {0x22};
        (void)notify_file_data(end_list, sizeof(end_list));
        break;
    }
    case 0x02: {
        /* GET non implémenté sur ce firmware. */
        uint8_t error[] = {0xEE, 0x01};
        (void)notify_file_data(error, sizeof(error));
        break;
    }
    case 0x03:
        printk("BLE CMD: FILE abort\n");
        break;
    default:
        printk("BLE CMD: FE44 unknown cmd=0x%02x\n", rx[0]);
        break;
    }

    return (ssize_t)len;
}

static ssize_t body_sensor_loc_read(struct bt_conn *conn, const struct bt_gatt_attr *attr,
                                    void *buf, uint16_t len, uint16_t offset)
{
    ARG_UNUSED(attr);
    return bt_gatt_attr_read(conn, attr, buf, len, offset,
                             &body_sensor_location, sizeof(body_sensor_location));
}

static ssize_t hr_ctrl_write(struct bt_conn *conn, const struct bt_gatt_attr *attr,
                             const void *buf, uint16_t len, uint16_t offset, uint8_t flags)
{
    ARG_UNUSED(conn);
    ARG_UNUSED(attr);
    ARG_UNUSED(flags);

    const uint8_t *rx = buf;

    if (offset != 0U) {
        return BT_GATT_ERR(BT_ATT_ERR_INVALID_OFFSET);
    }

    if (len != 1U) {
        return BT_GATT_ERR(BT_ATT_ERR_INVALID_ATTRIBUTE_LEN);
    }

    if (rx[0] == 0x01U) {
        printk("BLE CMD: Heart Rate reset energy\n");
    } else {
        printk("BLE CMD: HR control unknown=0x%02x\n", rx[0]);
    }

    return (ssize_t)len;
}

BT_GATT_SERVICE_DEFINE(p2p_svc,
    BT_GATT_PRIMARY_SERVICE(&uuid_p2p_service),
    BT_GATT_CHARACTERISTIC(&uuid_led_char.uuid,
                           BT_GATT_CHRC_READ | BT_GATT_CHRC_WRITE | BT_GATT_CHRC_WRITE_WITHOUT_RESP,
                           BT_GATT_PERM_READ | BT_GATT_PERM_WRITE,
                           led_ctrl_read, led_ctrl_write, led_ctrl_value),
    BT_GATT_CHARACTERISTIC(&uuid_switch_char.uuid,
                           BT_GATT_CHRC_NOTIFY,
                           BT_GATT_PERM_NONE,
                           NULL, NULL, NULL),
    BT_GATT_CCC(switch_ccc_cfg_changed, BT_GATT_PERM_READ | BT_GATT_PERM_WRITE),
    BT_GATT_CHARACTERISTIC(&uuid_long_char.uuid,
                           BT_GATT_CHRC_NOTIFY,
                           BT_GATT_PERM_NONE,
                           NULL, NULL, NULL),
    BT_GATT_CCC(long_ccc_cfg_changed, BT_GATT_PERM_READ | BT_GATT_PERM_WRITE),
    BT_GATT_CHARACTERISTIC(&uuid_file_ctrl_char.uuid,
                           BT_GATT_CHRC_WRITE | BT_GATT_CHRC_WRITE_WITHOUT_RESP,
                           BT_GATT_PERM_WRITE,
                           NULL, file_ctrl_write, NULL),
    BT_GATT_CHARACTERISTIC(&uuid_file_data_char.uuid,
                           BT_GATT_CHRC_NOTIFY,
                           BT_GATT_PERM_NONE,
                           NULL, NULL, NULL),
    BT_GATT_CCC(file_data_ccc_cfg_changed, BT_GATT_PERM_READ | BT_GATT_PERM_WRITE));

BT_GATT_SERVICE_DEFINE(hrs_svc,
    BT_GATT_PRIMARY_SERVICE(BT_UUID_HRS),
    BT_GATT_CHARACTERISTIC(BT_UUID_HRS_MEASUREMENT,
                           BT_GATT_CHRC_NOTIFY,
                           BT_GATT_PERM_NONE,
                           NULL, NULL, NULL),
    BT_GATT_CCC(hrm_ccc_cfg_changed, BT_GATT_PERM_READ | BT_GATT_PERM_WRITE),
    BT_GATT_CHARACTERISTIC(BT_UUID_HRS_BODY_SENSOR,
                           BT_GATT_CHRC_READ,
                           BT_GATT_PERM_READ,
                           body_sensor_loc_read, NULL, &body_sensor_location),
    BT_GATT_CHARACTERISTIC(BT_UUID_HRS_CONTROL_POINT,
                           BT_GATT_CHRC_WRITE,
                           BT_GATT_PERM_WRITE,
                           NULL, hr_ctrl_write, NULL));

static int notify_checked(const struct bt_gatt_attr *attr, const void *data,
                          uint16_t len, bool notify_enabled)
{
    if (active_conn == NULL) {
        return -ENOTCONN;
    }

    if (!notify_enabled) {
        return 0;
    }

    return bt_gatt_notify(active_conn, attr, data, len);
}

static int notify_file_data(const uint8_t *data, uint16_t len)
{
    return notify_checked(&p2p_svc.attrs[P2P_ATTR_FILE_DATA_VALUE],
                          data, len, file_data_notify_enabled);
}

static int start_advertising_internal(void)
{
    const struct bt_data ad[] = {
        BT_DATA_BYTES(BT_DATA_FLAGS, (BT_LE_AD_GENERAL | BT_LE_AD_NO_BREDR)),
        BT_DATA_BYTES(BT_DATA_UUID16_ALL, 0x0D, 0x18),
    };
    const struct bt_data sd[] = {
        BT_DATA_BYTES(BT_DATA_UUID128_ALL, 0x40, 0xFE, 0x00, 0x00,
                      0x7A, 0xCC, 0x2A, 0x48, 0x98, 0x4A,
                      0x7F, 0x2E, 0xD5, 0xB3, 0xE5, 0x8F),
        BT_DATA(BT_DATA_NAME_COMPLETE, CONFIG_BT_DEVICE_NAME, sizeof(CONFIG_BT_DEVICE_NAME) - 1),
    };

    int ret = bt_le_adv_start(BT_LE_ADV_CONN_FAST_1, ad, ARRAY_SIZE(ad), sd, ARRAY_SIZE(sd));
    if (ret == -EALREADY) {
        return 0;
    }

    return ret;
}

static void connected(struct bt_conn *conn, uint8_t err)
{
    if (err != 0U) {
        printk("BLE connect failed (err 0x%02x)\n", err);
        return;
    }

    if (active_conn == NULL) {
        active_conn = bt_conn_ref(conn);
    }

    printk("BLE connected\n");
}

static void disconnected(struct bt_conn *conn, uint8_t reason)
{
    ARG_UNUSED(conn);

    if (active_conn != NULL) {
        bt_conn_unref(active_conn);
        active_conn = NULL;
    }

    switch_notify_enabled = false;
    long_notify_enabled = false;
    file_data_notify_enabled = false;
    hrm_notify_enabled = false;

    printk("BLE disconnected (reason 0x%02x)\n", reason);

    (void)start_advertising_internal();
}

BT_CONN_CB_DEFINE(conn_callbacks) = {
    .connected = connected,
    .disconnected = disconnected,
};

int ble_init(void)
{
    int ret = bt_enable(NULL);
    if (ret != 0) {
        printk("BLE init failed: %d\n", ret);
        return ret;
    }

    printk("BLE initialized\n");

#if HAS_STATUS_LED
    if (gpio_is_ready_dt(&status_led)) {
        if (gpio_pin_configure_dt(&status_led, GPIO_OUTPUT_INACTIVE) == 0) {
            status_led_ready = true;
        }
    }
#endif

    return 0;
}

int ble_start_advertising(void)
{
    int ret = start_advertising_internal();
    if (ret != 0) {
        printk("BLE advertising failed: %d\n", ret);
        return ret;
    }

    printk("BLE advertising as \"%s\"\n", CONFIG_BT_DEVICE_NAME);
    return 0;
}

bool ble_is_connected(void)
{
    return active_conn != NULL;
}

bool ble_streaming_enabled(void)
{
    return stream_enabled;
}

uint8_t ble_selected_activity_index(void)
{
    return selected_activity_index;
}

int ble_notify_temperature_centi(int16_t temperature_centi_c)
{
    uint8_t payload[2] = {
        (uint8_t)(temperature_centi_c & 0xFF),
        (uint8_t)((uint16_t)temperature_centi_c >> 8),
    };

    return notify_checked(&p2p_svc.attrs[P2P_ATTR_SWITCH_VALUE],
                          payload, sizeof(payload), switch_notify_enabled);
}

int ble_notify_motion(int16_t gyro_x_centi_dps,
                      int16_t gyro_y_centi_dps,
                      int16_t gyro_z_centi_dps,
                      uint16_t pitch_centi_deg,
                      uint16_t roll_centi_deg)
{
    uint8_t payload[12] = {
        (uint8_t)(gyro_x_centi_dps & 0xFF),
        (uint8_t)((uint16_t)gyro_x_centi_dps >> 8),
        (uint8_t)(gyro_y_centi_dps & 0xFF),
        (uint8_t)((uint16_t)gyro_y_centi_dps >> 8),
        (uint8_t)(gyro_z_centi_dps & 0xFF),
        (uint8_t)((uint16_t)gyro_z_centi_dps >> 8),
        (uint8_t)(pitch_centi_deg & 0xFF),
        (uint8_t)(pitch_centi_deg >> 8),
        (uint8_t)(roll_centi_deg & 0xFF),
        (uint8_t)(roll_centi_deg >> 8),
        0x00,
        0x00,
    };

    return notify_checked(&p2p_svc.attrs[P2P_ATTR_LONG_VALUE],
                          payload, sizeof(payload), long_notify_enabled);
}

int ble_notify_biometrics(uint16_t heart_rate_bpm, uint16_t spo2_percent)
{
    /* Format attendu par l'app: Flags=0x09, HR 16-bit LE, "Energy" 16-bit LE (utilisé pour SpO2). */
    uint8_t payload[5] = {
        0x09,
        (uint8_t)(heart_rate_bpm & 0xFF),
        (uint8_t)(heart_rate_bpm >> 8),
        (uint8_t)(spo2_percent & 0xFF),
        (uint8_t)(spo2_percent >> 8),
    };

    return notify_checked(&hrs_svc.attrs[HRS_ATTR_MEAS_VALUE],
                          payload, sizeof(payload), hrm_notify_enabled);
}

int ble_notify_activity(uint8_t activity_class, float confidence)
{
    /* Send activity classification via file data characteristic */
    /* Format: [0xAA, activity_class, confidence_int, confidence_frac] */
    uint8_t confidence_int = (uint8_t)(confidence * 100.0f);
    uint8_t confidence_frac = (uint8_t)((confidence * 100.0f - confidence_int) * 100.0f);

    uint8_t payload[4] = {
        0xAA,  // Activity notification marker
        activity_class,
        confidence_int,
        confidence_frac
    };

    return notify_checked(&p2p_svc.attrs[P2P_ATTR_FILE_DATA_VALUE],
                          payload, sizeof(payload), file_data_notify_enabled);
}
```

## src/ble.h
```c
#ifndef BLE_H
#define BLE_H

#include <stdbool.h>
#include <stdint.h>

#ifdef __cplusplus
extern "C" {
#endif

int ble_init(void);
int ble_start_advertising(void);
bool ble_is_connected(void);
bool ble_streaming_enabled(void);
uint8_t ble_selected_activity_index(void);

int ble_notify_temperature_centi(int16_t temperature_centi_c);
int ble_notify_motion(int16_t gyro_x_centi_dps,
                      int16_t gyro_y_centi_dps,
                      int16_t gyro_z_centi_dps,
                      uint16_t pitch_centi_deg,
                      uint16_t roll_centi_deg);
int ble_notify_biometrics(uint16_t heart_rate_bpm, uint16_t spo2_percent);
int ble_notify_activity(uint8_t activity_class, float confidence);

#ifdef __cplusplus
}
#endif

#endif /* BLE_H */
```

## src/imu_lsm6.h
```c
#ifndef IMU_LSM6_H
#define IMU_LSM6_H

#include <stdint.h>
#include <zephyr/drivers/sensor.h>

#ifdef __cplusplus
extern "C" {
#endif

typedef struct {
    const struct device *imu_dev;   /* device "sensor" (driver Zephyr) */
    const struct device *i2c_dev;   /* bus I2C du capteur */
    uint16_t i2c_addr;              /* 0x6A ou 0x6B */
    uint8_t whoami;                 /* valeur WHO_AM_I lue */
} imu_lsm6_t;

/**
 * Initialise le capteur IMU à partir de l'alias devicetree: DT_ALIAS(imu).
 * - Vérifie device_is_ready
 * - Lit WHO_AM_I (registre 0x0F)
 */
int imu_lsm6_init(imu_lsm6_t *ctx);

/**
 * Force la fréquence d'échantillonnage (Hz) via sensor_attr_set().
 * Ex: 104, 208...
 */
int imu_lsm6_set_odr_hz(const imu_lsm6_t *ctx, int odr_hz);

/**
 * Lit un échantillon (fetch) puis récupère accel + gyro.
 * accel en m/s^2, gyro en rad/s (unités Zephyr).
 */
int imu_lsm6_read(const imu_lsm6_t *ctx,
                  struct sensor_value accel_xyz[3],
                  struct sensor_value gyro_xyz[3]);

/**
 * Lit la température interne du LSM6DSOX en centi-degrés Celsius.
 * Conversion: temp_c = 25 + raw/256 (datasheet ST).
 */
int imu_lsm6_read_die_temp_centi(const imu_lsm6_t *ctx, int16_t *temp_centi_c);

/**
 * Dump I2C brut utile debug (WHO_AM_I, STATUS, RAW accel/gyro)
 * Utile quand vous suspectez adresse/bus/pull-up.
 */
int imu_lsm6_dump_i2c_raw(const imu_lsm6_t *ctx);

#ifdef __cplusplus
}
#endif

#endif /* IMU_LSM6_H */
```

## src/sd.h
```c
#ifndef SD_H_
#define SD_H_

#include <stdbool.h>
#include <stdint.h>

int app_sd_init(void);
int app_sd_deinit(void);
int app_sd_append_imu_csv(int64_t timestamp_ms,
                          double temperature_c,
                          double gyro_x,
                          double gyro_y,
                          double gyro_z,
                          double accel_x,
                          double accel_y,
                          double accel_z);
int app_sd_start_session(uint8_t activity_index);
int app_sd_stop_session(void);
bool app_sd_session_active(void);
const char *app_sd_current_session_file(void);
int app_sd_append_session_imu_csv(int64_t timestamp_ms,
                                  double temperature_c,
                                  double gyro_x,
                                  double gyro_y,
                                  double gyro_z,
                                  double accel_x,
                                  double accel_y,
                                  double accel_z);
const char *app_sd_mount_point(void);

#endif /* SD_H_ */
```
